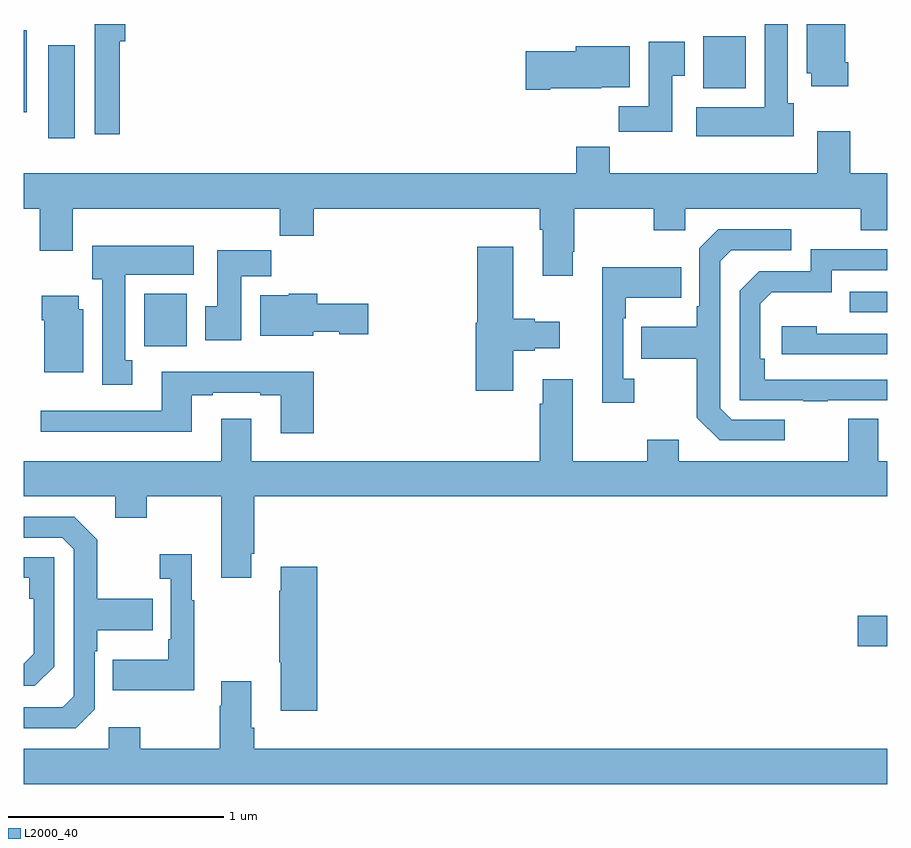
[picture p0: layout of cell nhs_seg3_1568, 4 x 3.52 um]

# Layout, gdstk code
import gdstk
lib = gdstk.Library(unit=1e-6, precision=1e-09)
def R(c, l, rs):  # rectangles x0, y0, x1, y1
    for r in rs: c.add(gdstk.rectangle(r[:2], r[2:], *l))
def P(c, l, *ps):  # polygons
    for p in ps: c.add(gdstk.Polygon(p, *l))
L2000_40 = (2000, 40)

nhs_seg3_1568 = lib.new_cell('nhs_seg3_1568')
R(nhs_seg3_1568, L2000_40, [(194.862,737.518,195,737.66), (191.558,738.908,191.755,739.15), (194.827,739.065,195,739.161), (191.114,739.872,191.236,740.302), (191,739.992,191.014,740.372), (194.147,740.102,194.344,740.344), (192.65,740.399,193.039,740.4)])
P(nhs_seg3_1568, L2000_40, [(194.819,740.224),(194.806,740.224),(194.806,740.4),(194.627,740.4),(194.627,740.172),(194.648,740.172),(194.648,740.112),(194.819,740.112)],
  [(194.566,740.034),(194.539,740.034),(194.539,740.4),(194.432,740.4),(194.432,740.014),(194.115,740.014),(194.115,739.88),(194.566,739.88)],
  [(191.444,740.321),(191.471,740.321),(191.471,740.4),(191.328,740.4),(191.328,739.89),(191.444,739.89)],
  [(194.005,740.161),(194.062,740.161),(194.062,740.317),(193.895,740.317),(193.895,740.02),(193.756,740.02),(193.756,739.902),(194.005,739.902)],
  [(193.438,740.102),(193.674,740.102),(193.674,740.108),(193.807,740.108),(193.807,740.296),(193.556,740.296),(193.556,740.273),(193.326,740.273),(193.326,740.095),(193.438,740.095)],
  [(191,739.544),(191.075,739.544),(191.075,739.35),(191.227,739.35),(191.227,739.544),(192.187,739.544),(192.187,739.42),(192.344,739.42),(192.344,739.544),(193.391,739.544),(193.391,739.448),(193.403,739.448),(193.403,739.233),(193.543,739.233),(193.543,739.345),(193.551,739.345),(193.551,739.544),(193.918,739.544),(193.918,739.445),(194.064,739.445),(194.064,739.544),(194.878,739.544),(194.878,739.445),(195,739.445),(195,739.708),(194.828,739.708),(194.828,739.903),(194.675,739.903),(194.675,739.708),(193.715,739.708),(193.715,739.832),(193.559,739.832),(193.559,739.708),(191,739.708)],
  [(194.524,738.567),(194.28,738.567),(194.226,738.621),(194.226,739.302),(194.277,739.353),(194.554,739.353),(194.554,739.449),(194.217,739.449),(194.13,739.362),(194.13,739.093),(194.118,739.093),(194.118,738.997),(193.861,738.997),(193.861,738.85),(194.118,738.85),(194.118,738.577),(194.223,738.471),(194.524,738.471)],
  [(191.503,738.842),(191.47,738.842),(191.47,739.238),(191.788,739.238),(191.788,739.372),(191.318,739.372),(191.318,739.218),(191.363,739.218),(191.363,738.729),(191.503,738.729)],
  [(193.267,738.887),(193.367,738.887),(193.367,738.899),(193.483,738.899),(193.483,739.021),(193.367,739.021),(193.367,739.034),(193.267,739.034),(193.267,739.369),(193.1,739.369),(193.1,739.017),(193.094,739.017),(193.094,738.702),(193.267,738.702)],
  [(194.723,738.657),(195,738.657),(195,738.753),(194.432,738.753),(194.432,738.85),(194.412,738.85),(194.412,739.104),(194.465,739.157),(194.742,739.157),(194.742,739.26),(195,739.26),(195,739.356),(194.646,739.356),(194.646,739.254),(194.406,739.254),(194.316,739.164),(194.316,738.657),(194.611,738.657),(194.611,738.652),(194.723,738.652)],
  [(192.007,739.232),(192.146,739.232),(192.146,739.351),(191.897,739.351),(191.897,739.092),(191.84,739.092),(191.84,738.936),(192.007,738.936)],
  [(193.828,738.758),(193.776,738.758),(193.776,739.037),(193.789,739.037),(193.789,739.133),(194.045,739.133),(194.045,739.273),(193.679,739.273),(193.679,738.645),(193.828,738.645)],
  [(192.342,738.974),(192.462,738.974),(192.462,738.962),(192.595,738.962),(192.595,739.104),(192.359,739.104),(192.359,739.15),(192.228,739.15),(192.228,739.144),(192.095,739.144),(192.095,738.956),(192.342,738.956)],
  [(191.275,739.08),(191.254,739.08),(191.254,739.141),(191.084,739.141),(191.084,739.028),(191.096,739.028),(191.096,738.788),(191.275,738.788)],
  [(195,738.966),(194.672,738.966),(194.672,739),(194.511,739),(194.511,738.87),(195,738.87)],
  [(192.344,738.79),(191.639,738.79),(191.639,738.609),(191.079,738.609),(191.079,738.512),(191.779,738.512),(191.779,738.681),(191.875,738.681),(191.875,738.693),(192.095,738.693),(192.095,738.681),(192.191,738.681),(192.191,738.504),(192.344,738.504)],
  [(192.055,737.947),(192.068,737.947),(192.068,738.212),(195,738.212),(195,738.376),(194.959,738.376),(194.959,738.571),(194.819,738.571),(194.819,738.376),(194.035,738.376),(194.035,738.475),(193.888,738.475),(193.888,738.376),(193.543,738.376),(193.543,738.754),(193.403,738.754),(193.403,738.641),(193.391,738.641),(193.391,738.376),(192.055,738.376),(192.055,738.571),(191.915,738.571),(191.915,738.376),(191,738.376),(191,738.212),(191.423,738.212),(191.423,738.113),(191.571,738.113),(191.571,738.212),(191.915,738.212),(191.915,737.835),(192.055,737.835)],
  [(191.328,737.226),(191.328,737.495),(191.341,737.495),(191.341,737.591),(191.597,737.591),(191.597,737.739),(191.341,737.739),(191.341,738.011),(191.235,738.117),(191,738.117),(191,738.021),(191.178,738.021),(191.232,737.967),(191.232,737.286),(191.181,737.235),(191,737.235),(191,737.139),(191.241,737.139)],
  [(191.791,737.731),(191.779,737.731),(191.779,737.944),(191.631,737.944),(191.631,737.831),(191.682,737.831),(191.682,737.551),(191.67,737.551),(191.67,737.455),(191.413,737.455),(191.413,737.315),(191.791,737.315)],
  [(191.142,737.424),(191.142,737.931),(191,737.931),(191,737.835),(191.026,737.835),(191.026,737.738),(191.046,737.738),(191.046,737.484),(191,737.438),(191,737.334),(191.052,737.334)],
  [(192.359,737.887),(192.191,737.887),(192.191,737.774),(192.184,737.774),(192.184,737.443),(192.191,737.443),(192.191,737.22),(192.359,737.22)],
  [(195,737.044),(192.068,737.044),(192.068,737.14),(192.055,737.14),(192.055,737.356),(191.915,737.356),(191.915,737.243),(191.908,737.243),(191.908,737.044),(191.541,737.044),(191.541,737.143),(191.394,737.143),(191.394,737.044),(191,737.044),(191,736.88),(195,736.88)])

lib.write_gds('nhs_seg3_1568.gds')
